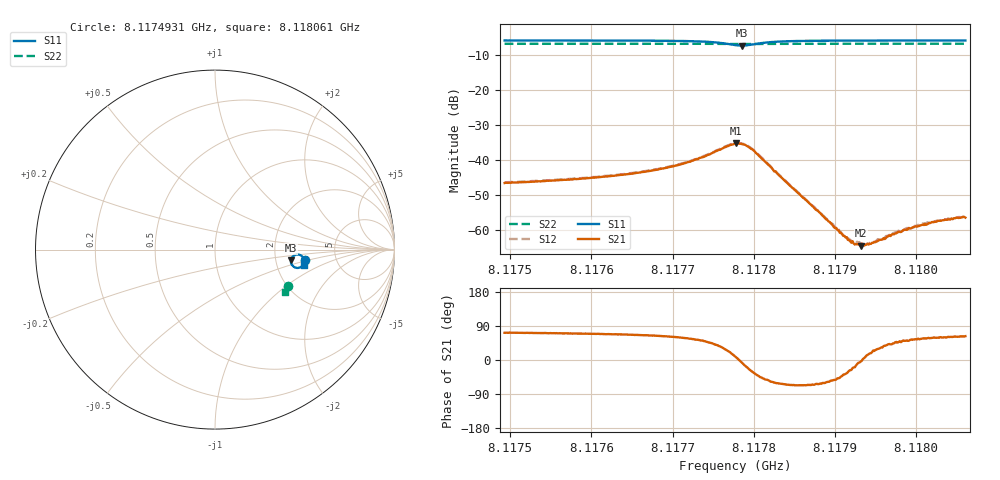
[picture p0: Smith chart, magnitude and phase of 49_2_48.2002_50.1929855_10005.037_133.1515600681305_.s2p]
#  HZ  S  RI  R  50.00
! Rohde & Schwarz Vector Network Analyzer
! Rohde-Schwarz,ZNB20-2Port,1311601062101988,3.16
! Created: UTC 3/20/2024, 11:38:11 AM
! freq[Hz]  re:S11  im:S11  re:S21  im:S21  re:S12  im:S12  re:S22  im:S22
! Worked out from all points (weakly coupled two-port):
!   401 points, 8.1174931 GHz to 8.118061 GHz, reference 50 ohm
!   highest |S21| = -35.24 dB at 8.1177784 GHz (marker M1); lowest = -64.4 dB at 8.1179318 GHz (marker M2)
!   lowest |S11| = -7.4 dB at 8.1177855 GHz (marker M3), VSWR 2.49, Z = 122 - j17.7 ohm
!   |S11| at or under -10 dB: nowhere
!   |S22| runs from -6.9 to -6.9 dB; largest |S21 - S12| = 0.00058
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8.11749307e9  0.5019 -0.0574  0.00147 0.00448  0.00154 0.00455  0.4048 -0.2015
8.11758819e9  0.4995 -0.0677  0.00191 0.00511  0.00199 0.00519  0.4018 -0.2075
8.1176464e9  0.4968 -0.0758  0.00251 0.00582  0.00257 0.00591  0.3999 -0.2115
8.11768331e9  0.4934 -0.0828  0.00329 0.00665  0.00343 0.00673  0.3989 -0.2139
8.11772875e9  0.4816 -0.0955  0.00602 0.00819  0.00623 0.00826  0.3968 -0.2171
8.11777702e9  0.4268 -0.0819  0.0168 0.00281  0.0171 0.00264  0.3931 -0.2187
8.11777844e9  0.4253 -0.0786  0.0172 0.00213  0.0174 0.0019  0.3931 -0.2186
8.11778553e9  0.4231 -0.0596  0.0168 -0.00207  0.0171 -0.00217  0.3928 -0.2182
8.11780115e9  0.4471 -0.03  0.0109 -0.00774  0.011 -0.00799  0.3939 -0.2182
8.11782813e9  0.4832 -0.0356  0.00319 -0.00581  0.00326 -0.00588  0.3945 -0.2204
8.11787214e9  0.4964 -0.0544  0.000946 -0.00201  0.00092 -0.00207  0.3936 -0.2241
8.11790905e9  0.4984 -0.0638  0.000654 -0.00059  0.000683 -0.000564  0.3924 -0.2265
8.11791757e9  0.4986 -0.0654  0.000638 -0.000347  0.000651 -0.000379  0.3921 -0.2272
8.11792609e9  0.4987 -0.067  0.000614 -0.000159  0.000633 -0.000176  0.3919 -0.2277
8.11793177e9  0.4987 -0.0681  0.0006 -4.71e-05  0.000636 -5.76e-05  0.3916 -0.228
8.11793603e9  0.4987 -0.0687  0.000604 5.08e-05  0.000635 4.8e-05  0.3915 -0.2284
8.11794454e9  0.4989 -0.0701  0.00061 0.000199  0.000625 0.000223  0.3913 -0.229
8.11796726e9  0.4989 -0.0733  0.000626 0.000567  0.000657 0.000555  0.3905 -0.2303
8.11798856e9  0.4987 -0.0761  0.000627 0.000796  0.000681 0.000836  0.3898 -0.2318
8.11801127e9  0.4984 -0.0789  0.000666 0.00103  0.000681 0.00107  0.389 -0.2332
8.11802973e9  0.4981 -0.0808  0.000675 0.00119  0.000679 0.00119  0.3883 -0.2345
8.11806096e9  0.4977 -0.084  0.000691 0.00135  0.000742 0.00138  0.3872 -0.2363
